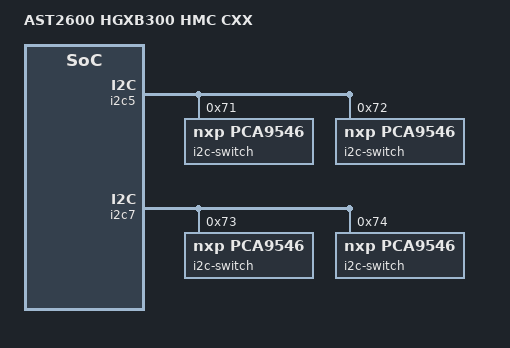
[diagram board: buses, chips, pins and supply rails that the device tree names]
// SPDX-License-Identifier: GPL-2.0+
/dts-v1/;

#include "aspeed-bmc-nvidia-hgxb300-hmc-common.dtsi"

/{
   /* modify common dts to support C00/C01 board */
    model = "AST2600 HGXB300 HMC CXX";
    
    aliases {
        /delete-property/ i2c19;
        /delete-property/ i2c20;
        /delete-property/ i2c21;
        /delete-property/ i2c22;

        /delete-property/ i2c23;
        /delete-property/ i2c24;
        /delete-property/ i2c25;
        /delete-property/ i2c26;

        /delete-property/ i2c27;
        /delete-property/ i2c28;
        /delete-property/ i2c29;
        /delete-property/ i2c30;

        /delete-property/ i2c31;
        /delete-property/ i2c32;
        /delete-property/ i2c33;
        /delete-property/ i2c34;

        i2c19 = &i2c5_mux71_0;
        i2c20 = &i2c5_mux71_1;
        i2c21 = &i2c5_mux71_2;
        i2c22 = &i2c5_mux71_3;

        i2c23 = &i2c5_mux72_0;
        i2c24 = &i2c5_mux72_1;
        i2c25 = &i2c5_mux72_2;
        i2c26 = &i2c5_mux72_3;
        i2c27 = &i2c7_mux73_0;
        i2c28 = &i2c7_mux73_1;
        i2c29 = &i2c7_mux73_2;
        i2c30 = &i2c7_mux73_3;
        i2c31 = &i2c7_mux74_0;
        i2c32 = &i2c7_mux74_1;
        i2c33 = &i2c7_mux74_2;
        i2c34 = &i2c7_mux74_3;
    };
 
};

&i2c5 {

    /delete-node/ i2c-switch@75;
    /delete-node/ i2c-switch@76;

    // CX8_2 / CX8_4 DBG I2C, CX8_2 / CX8_4 I2C_2 FW update (C00/C01)
    i2c-switch@71 {
        compatible = "nxp,pca9546";
        #address-cells = <1>;
        #size-cells = <0>;
        reg = <0x71>;

        // interrupt-parent = <&ipic>;
        // interrupts = <17 IRQ_TYPE_LEVEL_LOW>;
        // interrupt-controller;
        // #interrupt-cells = <2>;

        i2c5_mux71_0: i2c@0 {
            reg = <0>;
            #address-cells = <1>;
            #size-cells = <0>;
        };

        i2c5_mux71_1: i2c@1 {
            reg = <1>;
            #address-cells = <1>;
            #size-cells = <0>;
        };

        i2c5_mux71_2: i2c@2 {
            reg = <2>;
            #address-cells = <1>;
            #size-cells = <0>;
        };

        i2c5_mux71_3: i2c@3 {
            reg = <3>;
            #address-cells = <1>;
            #size-cells = <0>;
        };
    };

    // CX8_3 / CX8_1 DBG I2C, CX8_3 / CX8_1 I2C_2 FW update (C01)
    i2c-switch@72 {
        compatible = "nxp,pca9546";
        #address-cells = <1>;
        #size-cells = <0>;
        reg = <0x72>;

        // interrupt-parent = <&ipic>;
        // interrupts = <17 IRQ_TYPE_LEVEL_LOW>;
        // interrupt-controller;
        // #interrupt-cells = <2>;

        i2c5_mux72_0: i2c@0 {
            reg = <0>;
            #address-cells = <1>;
            #size-cells = <0>;
        };

        i2c5_mux72_1: i2c@1 {
            reg = <1>;
            #address-cells = <1>;
            #size-cells = <0>;
        };

        i2c5_mux72_2: i2c@2 {
            reg = <2>;
            #address-cells = <1>;
            #size-cells = <0>;
        };

        i2c5_mux72_3: i2c@3 {
            reg = <3>;
            #address-cells = <1>;
            #size-cells = <0>;
        };
    };
};

&i2c7 {
    /delete-node/ i2c-switch@77;
    /delete-node/ i2c-switch@70;

    // CX8_8 / CX8_6 DBG I2C, CX8_8 / CX8_6 I2C_2 FW update (C01)
    i2c-switch@73 {
        compatible = "nxp,pca9546";
        #address-cells = <1>;
        #size-cells = <0>;
        reg = <0x73>;

        // interrupt-parent = <&ipic>;
        // interrupts = <17 IRQ_TYPE_LEVEL_LOW>;
        // interrupt-controller;
        // #interrupt-cells = <2>;

        i2c7_mux73_0: i2c@0 {
            reg = <0>;
            #address-cells = <1>;
            #size-cells = <0>;
        };

        i2c7_mux73_1: i2c@1 {
            reg = <1>;
            #address-cells = <1>;
            #size-cells = <0>;
        };

        i2c7_mux73_2: i2c@2 {
            reg = <2>;
            #address-cells = <1>;
            #size-cells = <0>;
        };

        i2c7_mux73_3: i2c@3 {
            reg = <3>;
            #address-cells = <1>;
            #size-cells = <0>;
        };
    };

    // CX8_5 / CX8_7 DBG I2C, CX8_5 / CX8_7 I2C_2 FW update (C01)
    i2c-switch@74 {
        compatible = "nxp,pca9546";
        #address-cells = <1>;
        #size-cells = <0>;
        reg = <0x74>;

        // interrupt-parent = <&ipic>;
        // interrupts = <17 IRQ_TYPE_LEVEL_LOW>;
        // interrupt-controller;
        // #interrupt-cells = <2>;

        i2c7_mux74_0: i2c@0 {
            reg = <0>;
            #address-cells = <1>;
            #size-cells = <0>;
        };

        i2c7_mux74_1: i2c@1 {
            reg = <1>;
            #address-cells = <1>;
            #size-cells = <0>;
        };

        i2c7_mux74_2: i2c@2 {
            reg = <2>;
            #address-cells = <1>;
            #size-cells = <0>;
        };

        i2c7_mux74_3: i2c@3 {
            reg = <3>;
            #address-cells = <1>;
            #size-cells = <0>;
        };
    };
};
